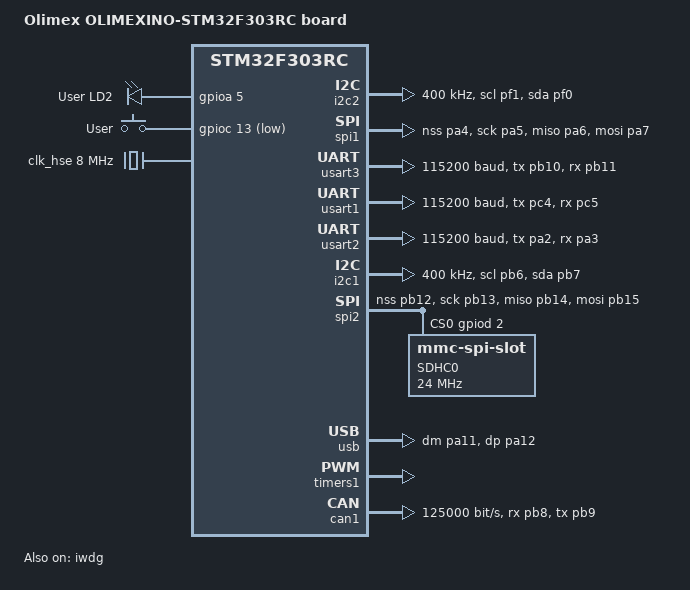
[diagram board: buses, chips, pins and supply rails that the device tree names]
/*
 * Copyright (c) 2020 Paul M. Bendixen
 *
 * SPDX-License-Identifier: Apache-2.0
 */

/dts-v1/;
#include <st/f3/stm32f303Xc.dtsi>
#include <st/f3/stm32f303r(b-c)tx-pinctrl.dtsi>

/ {
	model = "Olimex OLIMEXINO-STM32F303RC board";
	compatible = "olimex,olimexino_stm32f303rc", "st,stm32f303rc";

	chosen {
		zephyr,console = &usart2;
		zephyr,shell-uart = &usart2;
		zephyr,sram = &sram0;
		zephyr,flash = &flash0;
		zephyr,can-primary = &can1;
	};

	leds {
		compatible = "gpio-leds";
		green_led_2: led_2 {
			gpios = <&gpioa 5 GPIO_ACTIVE_HIGH>;
			label = "User LD2";
		};
	};

	gpio_keys {
		compatible = "gpio-keys";
		user_button: button {
			label = "User";
			gpios = <&gpioc 13 GPIO_ACTIVE_LOW>;
		};
	};

	aliases {
		led0 = &green_led_2;
		led1 = &green_led_2;
		sw0 = &user_button;
	};
};

&clk_hse {
	clock-frequency = <DT_FREQ_M(8)>;
	status = "okay";
};

&pll {
	prediv = <1>;
	mul = <9>;
	clocks = <&clk_hse>;
	status = "okay";
};

&rcc {
	clocks = <&pll>;
	clock-frequency = <DT_FREQ_M(72)>;
	ahb-prescaler = <1>;
	apb1-prescaler = <2>;
	apb2-prescaler = <1>;
};

uext_i2c: &i2c2 {};
uext_spi: &spi1 {};
uext_serial: &usart3 {};

&usart1 {
	pinctrl-0 = <&usart1_tx_pc4 &usart1_rx_pc5>;
	current-speed = <115200>;
	status = "okay";
};

&usart2 {
	pinctrl-0 = <&usart2_tx_pa2 &usart2_rx_pa3>;
	current-speed = <115200>;
	status = "okay";
};

&usart3 {
	pinctrl-0 = <&usart3_tx_pb10 &usart3_rx_pb11>;
	current-speed = <115200>;
	status = "okay";
};

&i2c1 {
	pinctrl-0 = <&i2c1_scl_pb6 &i2c1_sda_pb7>;
	status = "okay";
	clock-frequency = <I2C_BITRATE_FAST>;
};

&i2c2 {
	pinctrl-0 = <&i2c2_scl_pf1 &i2c2_sda_pf0>;
	status = "okay";
	clock-frequency = <I2C_BITRATE_FAST>;
};

&spi1 {
	pinctrl-0 = <&spi1_nss_pa4 &spi1_sck_pa5
		      &spi1_miso_pa6 &spi1_mosi_pa7>;
	status = "okay";
};

&spi2 {
	pinctrl-0 = <&spi2_nss_pb12 &spi2_sck_pb13
		      &spi2_miso_pb14 &spi2_mosi_pb15>;
	status = "okay";
	cs-gpios = <&gpiod 2 GPIO_ACTIVE_HIGH>;

	sdhc0: sdhc@0 {
		compatible = "zephyr,mmc-spi-slot";
		reg = <0>;
		status = "okay";
		label = "SDHC0";
		spi-max-frequency = <24000000>;
	};
};

&usb {
	status = "okay";
	disconnect-gpios = <&gpioc 12 GPIO_ACTIVE_LOW>;
	pinctrl-0 = <&usb_dm_pa11 &usb_dp_pa12>;
};

&timers1 {
	status = "okay";

	pwm1: pwm {
		status = "okay";
		pinctrl-0 = <&tim1_ch1_pa8>;
	};
};

&iwdg {
	status = "okay";
};

&can1 {
	pinctrl-0 = <&can_rx_pb8 &can_tx_pb9>;
	bus-speed = <125000>;
	sjw = <1>;
	prop-seg = <0>;
	phase-seg1 = <5>;
	phase-seg2 = <6>;
	status = "okay";
};

&flash0 {

    partitions {
        compatible = "fixed-partitions";
        #address-cells = <1>;
        #size-cells = <1>;

        boot_partition: partition@0 {
            label = "mcuboot";
            reg = <0x08000000 0x00010000>;
            read-only;
        };

        /*
         * The flash starting at 0x00010000 and ending at
         * 0x0001ffff (sectors 16-31) is reserved for use
         * by the application.
         */
        storage_partition: partition@10000 {
            label = "storage";
            reg = <0x00010000 0x00010000>;
        };

        slot0_partition: partition@20000 {
            label = "image-0";
            reg = <0x00020000 0x00020000>;
        };
        slot1_partition: partition@40000 {
            label = "image-1";
            reg = <0x00040000 0x00020000>;
        };
        scratch_partition: partition@60000 {
            label = "image-scratch";
            reg = <0x00060000 0x00020000>;
        };
    };
};
